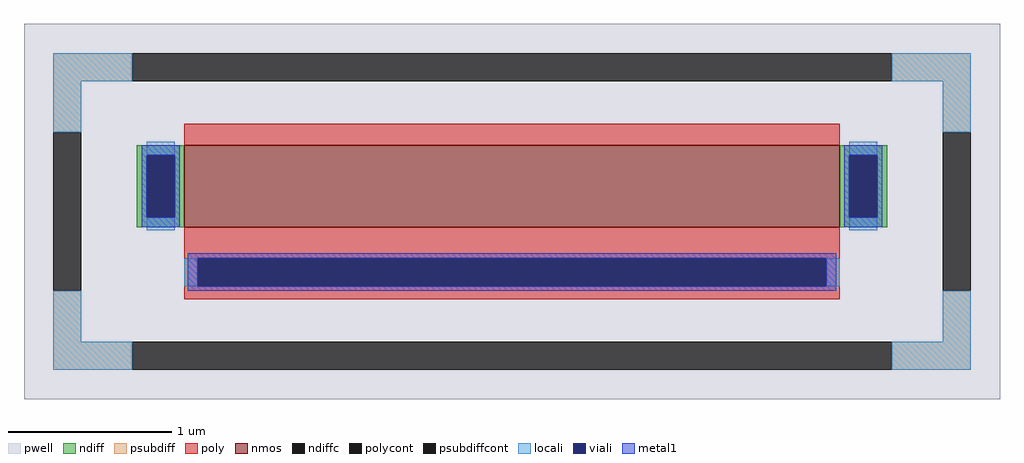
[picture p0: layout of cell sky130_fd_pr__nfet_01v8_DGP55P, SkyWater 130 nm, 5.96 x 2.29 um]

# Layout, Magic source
magic
tech sky130A
magscale 1 2
<< pwell >>
rect -596 -229 596 229
<< nmos >>
rect -400 -19 400 81
<< ndiff >>
rect -458 69 -400 81
rect -458 -7 -446 69
rect -412 -7 -400 69
rect -458 -19 -400 -7
rect 400 69 458 81
rect 400 -7 412 69
rect 446 -7 458 69
rect 400 -19 458 -7
<< ndiffc >>
rect -446 -7 -412 69
rect 412 -7 446 69
<< psubdiff >>
rect -560 159 -464 193
rect 464 159 560 193
rect -560 97 -526 159
rect 526 97 560 159
rect -560 -159 -526 -97
rect 526 -159 560 -97
rect -560 -193 -464 -159
rect 464 -193 560 -159
<< psubdiffcont >>
rect -464 159 464 193
rect -560 -97 -526 97
rect 526 -97 560 97
rect -464 -193 464 -159
<< poly >>
rect -400 81 400 107
rect -400 -57 400 -19
rect -400 -91 -384 -57
rect 384 -91 400 -57
rect -400 -107 400 -91
<< polycont >>
rect -384 -91 384 -57
<< locali >>
rect -560 159 -464 193
rect 464 159 560 193
rect -560 97 -526 159
rect 526 97 560 159
rect -446 69 -412 85
rect -446 -23 -412 -7
rect 412 69 446 85
rect 412 -23 446 -7
rect -400 -91 -384 -57
rect 384 -91 400 -57
rect -560 -159 -526 -97
rect 526 -159 560 -97
rect -560 -193 -464 -159
rect 464 -193 560 -159
<< viali >>
rect -446 -7 -412 69
rect 412 -7 446 69
rect -384 -91 384 -57
<< metal1 >>
rect -452 69 -406 81
rect -452 -7 -446 69
rect -412 -7 -406 69
rect -452 -19 -406 -7
rect 406 69 452 81
rect 406 -7 412 69
rect 446 -7 452 69
rect 406 -19 452 -7
rect -396 -57 396 -51
rect -396 -91 -384 -57
rect 384 -91 396 -57
rect -396 -97 396 -91
<< properties >>
string FIXED_BBOX -543 -176 543 176
string gencell sky130_fd_pr__nfet_01v8
string library sky130
string parameters w 0.5 l 4 m 1 nf 1 diffcov 100 polycov 100 guard 1 glc 1 grc 1 gtc 1 gbc 1 tbcov 100 rlcov 100 topc 0 botc 1 poverlap 0 doverlap 1 lmin 0.15 wmin 0.42 compatible {sky130_fd_pr__nfet_01v8 sky130_fd_pr__nfet_01v8_lvt  sky130_fd_bs_flash__special_sonosfet_star  sky130_fd_pr__nfet_g5v0d10v5 sky130_fd_pr__nfet_05v0_nvt  sky130_fd_pr__nfet_03v3_nvt} full_metal 1 viasrc 100 viadrn 100 viagate 100 viagb 0 viagr 0 viagl 0 viagt 0
<< end >>
